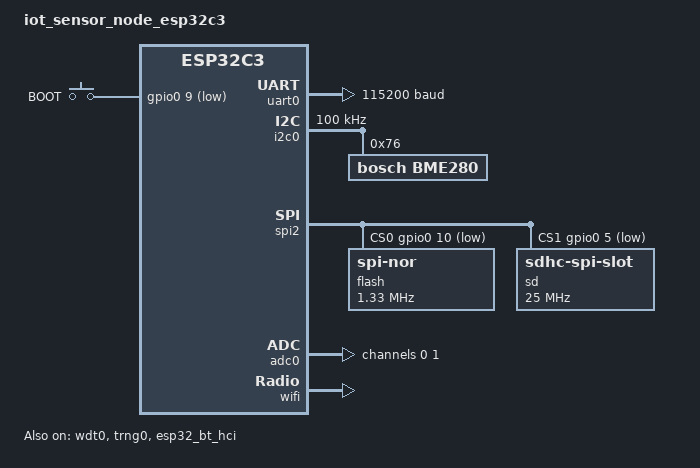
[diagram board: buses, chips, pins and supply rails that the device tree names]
/dts-v1/;

#include <espressif/esp32c3/esp32c3_wroom_n4.dtsi>
#include "iot_sensor_node_esp32c3-pinctrl.dtsi"
#include <zephyr/dt-bindings/input/input-event-codes.h>
#include <espressif/partitions_0x0_default.dtsi>

/ {
	model = "iot_sensor_node_esp32c3";
	compatible = "espressif,esp32c3";

	chosen {
		zephyr,sram = &sram1;
		zephyr,console = &uart0;
		zephyr,shell-uart = &uart0;
		zephyr,flash = &flash0;
		zephyr,code-partition = &slot0_partition;
		zephyr,bt-hci = &esp32_bt_hci;
	};

	aliases {
		sw0 = &boot_button;
		i2c-0 = &i2c0;
		watchdog0 = &wdt0;
	};

        gpio_keys {
                compatible = "gpio-keys";

                boot_button: button_0 {
                label = "BOOT";
                gpios = <&gpio0 9 GPIO_ACTIVE_LOW>;

               /*
                * BOOT button
                *
                * GPIO9 is an ESP32-C3 strapping pin with an internal weak pull-up.
                * The button pulls GPIO9 low when pressed.
                *
                * GPIO9 = HIGH -> normal SPI boot
                * GPIO9 = LOW  -> download/bootloader mode when sampled at reset
                */

                zephyr,code = <INPUT_KEY_0>;
                };
        };
};

&uart0 {
	status = "okay";
	current-speed = <115200>;
	pinctrl-0 = <&uart0_default>;
	pinctrl-names = "default";
};

&i2c0 {
	status = "okay";
	clock-frequency = <I2C_BITRATE_STANDARD>;
	pinctrl-0 = <&i2c0_default>;
	pinctrl-names = "default";

	bme280@76 {
		compatible = "bosch,bme280";
		reg = <0x76>;
	};

        /*
         * OLED NODE:
         * OLED interface is exposed through a breakout header.
         * No specific OLED controller is populated on the board.
         *
         * Users must provide an application overlay defining the
         * compatible OLED controller and its required properties.
         */
};

&spi2 {
	#address-cells = <1>;
        #size-cells = <0>;
        status = "okay";

	pinctrl-0 = <&spim2_default>;
	pinctrl-names = "default";

	cs-gpios = <&gpio0 10 GPIO_ACTIVE_LOW>,
		   <&gpio0 5 GPIO_ACTIVE_LOW>;

	flash@0 {
		compatible = "jedec,spi-nor";
		reg = <0>;
		spi-max-frequency = <1330000>;
                jedec-id = [ef 40 16];
                size = <0x400000>;
	};

	sd@1 {
		compatible = "zephyr,sdhc-spi-slot";
		reg = <1>;

		/*
		 * Generic starting frequency for SPI SD cards.
		 * Adjust according to the specific SD card model
		 * and its supported SPI operating frequency.
		 */
		spi-max-frequency = <25000000>;
                mmc {
                compatible = "zephyr,sdmmc-disk";
                disk-name = "SD";
                status = "okay";
                };
	    };
};

&adc0 {
       status = "okay";
       #address-cells = <1>;
       #size-cells = <0>;
       channel@0 {
         reg = <0>;

        /*
         * MAX4466 microphone amplifier:
         * MIC-OUT is connected to GPIO0 (ADC input).
         *
         * The MAX4466 is powered from 3.3 V and produces an amplified
         * analog signal around its internally biased output level.
         *
         * Higher attenuation is selected to provide sufficient ADC
         * headroom for amplified microphone signals.
         *
         * The attenuation can be changed depending on the amplifier gain
         * and expected sound level.
         *
         * See:
         * - ESP32-C3 ADC documentation for supported attenuation levels
         * - dts/bindings/adc/espressif,esp32-adc.yaml for Zephyr's
         *   attenuation-to-gain mapping.
         */

	zephyr,gain = "ADC_GAIN_1_4";
	zephyr,reference = "ADC_REF_INTERNAL";
	zephyr,acquisition-time = <ADC_ACQ_TIME_DEFAULT>;
        };
        channel@1 {
	reg = <1>;

	/*
	 * TEMT6000 ambient-light sensor:
	 * PHOTO-C is connected to GPIO1 through a 10 kOhm resistor.
	 *
	 * The sensor's photocurrent increases with illumination, so the
	 * voltage seen by the ADC also increases with light intensity.
	 *
	 * 6 dB attenuation (ADC_GAIN_1_2) provides additional voltage
	 * headroom for higher illumination levels while retaining good
	 * resolution for typical ambient-light measurements.
	 *
	 * The attenuation can be changed depending on the expected
	 * illumination range and application.
	 *
	 * ESP32-C3 supported attenuation levels and voltage ranges:
	 * https://docs.espressif.com/projects/esp-idf/en/stable/esp32c3/api-reference/peripherals/adc/index.html
	 *
	 * Zephyr's mapping between ESP32 attenuation and zephyr,gain
	 * is defined in:
	 * dts/bindings/adc/espressif,esp32-adc.yaml
	 *
	 * 0 dB  -> ADC_GAIN_1
	 * 2.5 dB -> ADC_GAIN_4_5
	 * 6 dB -> ADC_GAIN_1_2
	 * 11 dB -> ADC_GAIN_1_4
	 */
	zephyr,gain = "ADC_GAIN_1_2";

	zephyr,reference = "ADC_REF_INTERNAL";
	zephyr,acquisition-time = <ADC_ACQ_TIME_DEFAULT>;
        };
};

       /*
        * User Breakout
        *
        * The following GPIOs are exposed on the breakout header and are left
        * unassigned in the base board definition:
        *
        *   GPIO8
        *   GPIO18
        *   GPIO19
        *
        * Users may configure these pins for additional peripherals or GPIO
        * devices through a Devicetree overlay.
        */
&gpio0 {
    status = "okay";
};

&wdt0 {
    status = "okay";
};

&trng0 {
    status = "okay";
};

&esp32_bt_hci {
    status = "okay";
};

&wifi {
    status = "okay";
};
